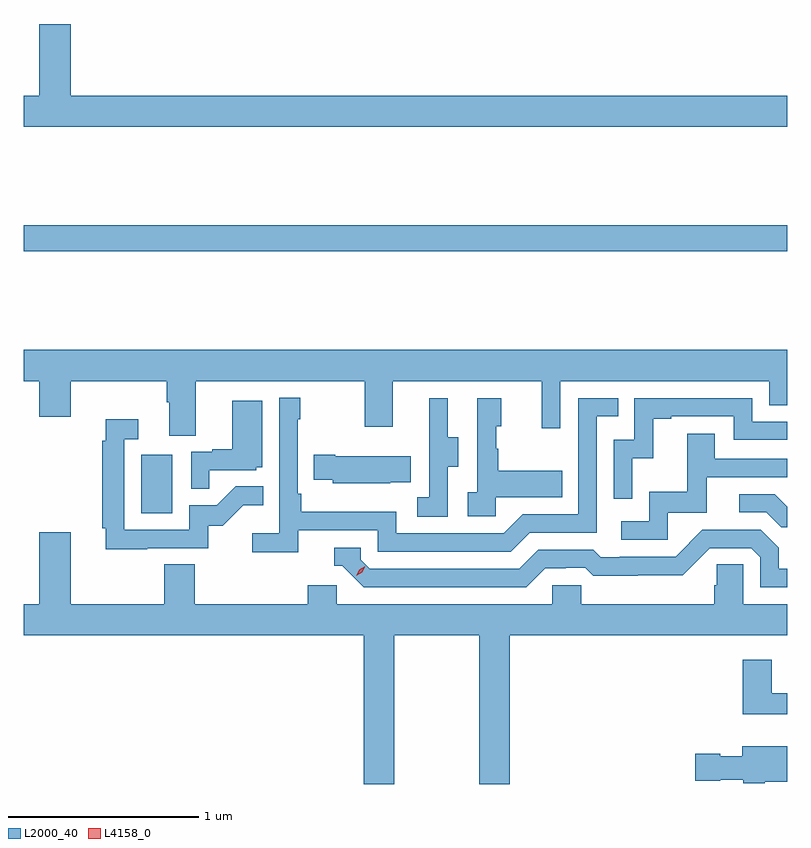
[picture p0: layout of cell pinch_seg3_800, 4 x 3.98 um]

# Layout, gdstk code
import gdstk
lib = gdstk.Library(unit=1e-6, precision=1e-09)
def R(c, l, rs):  # rectangles x0, y0, x1, y1
    for r in rs: c.add(gdstk.rectangle(r[:2], r[2:], *l))
def P(c, l, *ps):  # polygons
    for p in ps: c.add(gdstk.Polygon(p, *l))
L2000_40 = (2000, 40)
L4158_0 = (4158, 0)

pinch_seg3_800 = lib.new_cell('pinch_seg3_800')
R(pinch_seg3_800, L2000_40, [(884.822,714.876,884.986,715.183), (884.207,716.248,888.207,716.384)])
P(pinch_seg3_800, L2000_40, [(888.207,717.064),(884.452,717.064),(884.452,717.439),(884.288,717.439),(884.288,717.064),(884.207,717.064),(884.207,716.9),(888.207,716.9)],
  [(885.109,715.568),(885.994,715.568),(885.994,715.329),(886.141,715.329),(886.141,715.568),(886.922,715.568),(886.922,715.32),(887.019,715.32),(887.019,715.568),(888.114,715.568),(888.114,715.441),(888.207,715.441),(888.207,715.732),(884.207,715.732),(884.207,715.568),(884.288,715.568),(884.288,715.38),(884.452,715.38),(884.452,715.568),(884.957,715.568),(884.957,715.456),(884.969,715.456),(884.969,715.282),(885.109,715.282)],
  [(885.644,714.786),(886.062,714.786),(886.062,714.675),(886.759,714.675),(886.858,714.774),(887.208,714.774),(887.208,715.383),(887.321,715.383),(887.321,715.479),(887.112,715.479),(887.112,714.87),(886.821,714.87),(886.722,714.771),(886.158,714.771),(886.158,714.883),(885.662,714.883),(885.662,714.979),(885.642,714.979),(885.642,715.367),(885.655,715.367),(885.655,715.48),(885.546,715.48),(885.546,714.772),(885.405,714.772),(885.405,714.67),(885.644,714.67)],
  [(887.394,715.163),(887.504,715.163),(887.504,715.371),(887.599,715.371),(887.599,715.383),(887.928,715.383),(887.928,715.26),(888.207,715.26),(888.207,715.356),(888.024,715.356),(888.024,715.479),(887.406,715.479),(887.406,715.26),(887.298,715.26),(887.298,714.951),(887.394,714.951)],
  [(886.68,714.959),(887.027,714.959),(887.027,715.099),(886.693,715.099),(886.693,715.214),(886.683,715.214),(886.683,715.332),(886.708,715.332),(886.708,715.477),(886.584,715.477),(886.584,714.986),(886.533,714.986),(886.533,714.861),(886.68,714.861)],
  [(886.428,715.12),(886.483,715.12),(886.483,715.275),(886.429,715.275),(886.429,715.477),(886.331,715.477),(886.331,715.263),(886.332,715.263),(886.332,714.959),(886.269,714.959),(886.269,714.856),(886.428,714.856)],
  [(885.179,715.101),(885.426,715.101),(885.426,715.116),(885.457,715.116),(885.457,715.465),(885.299,715.465),(885.299,715.21),(885.195,715.21),(885.195,715.197),(885.084,715.197),(885.084,715.003),(885.179,715.003)],
  [(884.855,714.693),(885.174,714.693),(885.174,714.81),(885.25,714.81),(885.357,714.917),(885.461,714.917),(885.461,715.016),(885.317,715.016),(885.219,714.918),(885.075,714.918),(885.075,714.789),(884.733,714.789),(884.733,715.263),(884.806,715.263),(884.806,715.369),(884.636,715.369),(884.636,715.256),(884.617,715.256),(884.617,714.796),(884.636,714.796),(884.636,714.688),(884.855,714.688)],
  [(887.58,714.879),(887.785,714.879),(887.785,715.065),(888.207,715.065),(888.207,715.161),(887.827,715.161),(887.827,715.291),(887.683,715.291),(887.683,714.988),(887.484,714.988),(887.484,714.834),(887.337,714.834),(887.337,714.738),(887.58,714.738)],
  [(886.127,715.037),(886.235,715.037),(886.235,715.174),(885.838,715.174),(885.838,715.182),(885.727,715.182),(885.727,715.052),(885.825,715.052),(885.825,715.034),(886.127,715.034)],
  [(888.207,714.91),(888.142,714.975),(887.955,714.975),(887.955,714.882),(888.096,714.882),(888.176,714.802),(888.207,714.802)],
  [(886.939,714.588),(887.046,714.588),(887.046,714.591),(887.149,714.591),(887.191,714.549),(887.424,714.549),(887.424,714.551),(887.66,714.551),(887.802,714.693),(888.018,714.693),(888.066,714.645),(888.066,714.489),(888.207,714.489),(888.207,714.585),(888.163,714.585),(888.163,714.695),(888.069,714.789),(887.763,714.789),(887.622,714.648),(887.329,714.648),(887.329,714.645),(887.23,714.645),(887.191,714.684),(886.902,714.684),(886.803,714.585),(886.02,714.585),(885.972,714.633),(885.972,714.696),(885.833,714.696),(885.833,714.6),(885.876,714.6),(885.987,714.489),(886.84,714.489)],
  [(886.149,714.236),(886.594,714.236),(886.594,713.457),(886.754,713.457),(886.754,714.236),(888.207,714.236),(888.207,714.4),(887.976,714.4),(887.976,714.608),(887.839,714.608),(887.839,714.498),(887.825,714.498),(887.825,714.4),(887.127,714.4),(887.127,714.498),(886.977,714.498),(886.977,714.4),(885.846,714.4),(885.846,714.498),(885.695,714.498),(885.695,714.4),(885.104,714.4),(885.104,714.608),(884.944,714.608),(884.944,714.4),(884.452,714.4),(884.452,714.775),(884.288,714.775),(884.288,714.4),(884.207,714.4),(884.207,714.236),(885.989,714.236),(885.989,713.457),(886.149,713.457)],
  [(888.207,713.932),(888.127,713.932),(888.127,714.109),(887.975,714.109),(887.975,713.822),(888.207,713.822)],
  [(888.09,713.468),(888.207,713.468),(888.207,713.656),(887.972,713.656),(887.972,713.602),(887.856,713.602),(887.856,713.615),(887.724,713.615),(887.724,713.473),(887.856,713.473),(887.856,713.48),(887.976,713.48),(887.976,713.462),(888.09,713.462)])
P(pinch_seg3_800, L4158_0, [(885.949,714.547),(885.949,714.547),(885.965,714.58),(885.996,714.599),(885.996,714.599),(885.996,714.598),(885.98,714.566),(885.949,714.547)])

lib.write_gds('pinch_seg3_800.gds')
